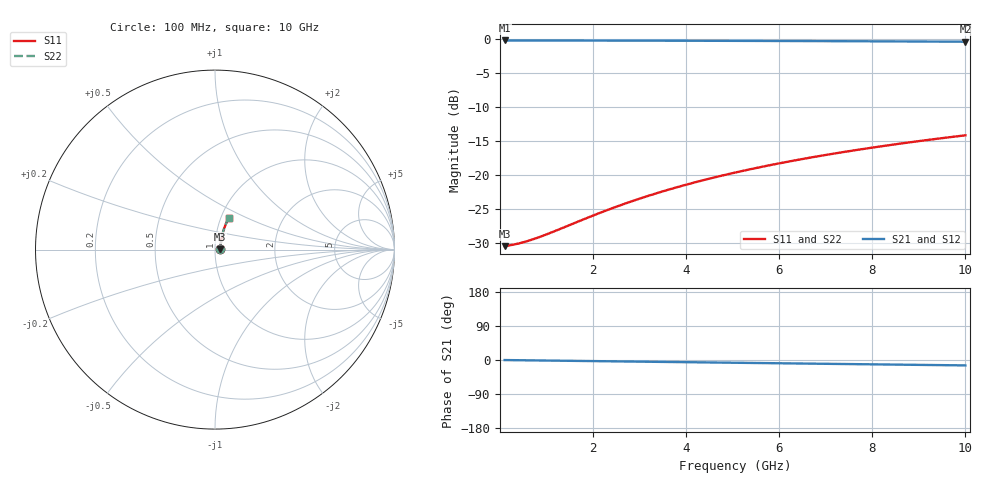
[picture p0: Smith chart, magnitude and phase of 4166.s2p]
# Hz S RI R 50.00
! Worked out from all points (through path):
!   100 points, 100 MHz to 10 GHz, reference 50 ohm
!   highest |S21| = -0.26 dB at 100 MHz (marker M1); lowest = -0.4 dB at 10 GHz (marker M2)
!   group delay of S21, straight-line fit = 3.96 ps
!   lowest |S11| = -30.5 dB at 100 MHz (marker M3), VSWR 1.06, Z = 53.1 + j0.201 ohm
!   |S11| at or under -10 dB: start of sweep to end of sweep
!   |S22| runs from -30.5 to -14.2 dB; largest |S21 - S12| = 0
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1e8  0.0298 0.00189  0.9702 -0.00245  0.9702 -0.00245  0.0298 0.00189
3e8  0.0301 0.00568  0.9699 -0.00733  0.9699 -0.00733  0.0301 0.00568
4e8  0.0303 0.00757  0.9697 -0.00978  0.9697 -0.00978  0.0303 0.00757
5e8  0.0304 0.00946  0.9696 -0.0122  0.9696 -0.0122  0.0304 0.00946
7e8  0.0307 0.0132  0.9693 -0.0171  0.9693 -0.0171  0.0307 0.0132
9e8  0.031 0.017  0.969 -0.022  0.969 -0.022  0.031 0.017
1.1e9  0.0313 0.0208  0.9687 -0.0268  0.9687 -0.0268  0.0313 0.0208
1.8e9  0.0325 0.0339  0.9674 -0.0439  0.9674 -0.0439  0.0325 0.0339
2.2e9  0.0334 0.0414  0.9665 -0.0536  0.9665 -0.0536  0.0334 0.0414
2.6e9  0.0344 0.0489  0.9654 -0.0632  0.9654 -0.0632  0.0344 0.0489
3e9  0.0356 0.0563  0.9642 -0.0729  0.9642 -0.0729  0.0356 0.0563
3.4e9  0.0369 0.0637  0.9629 -0.0825  0.9629 -0.0825  0.0369 0.0637
3.8e9  0.0383 0.0711  0.9614 -0.0921  0.9614 -0.0921  0.0383 0.0711
4.2e9  0.0399 0.0784  0.9598 -0.1017  0.9598 -0.1017  0.0399 0.0784
4.6e9  0.0416 0.0857  0.958 -0.1112  0.958 -0.1112  0.0416 0.0857
5.1e9  0.044 0.0948  0.9556 -0.123  0.9556 -0.123  0.044 0.0948
5.9e9  0.0482 0.1091  0.9512 -0.1417  0.9512 -0.1417  0.0482 0.1091
6.7e9  0.053 0.1232  0.9463 -0.1603  0.9463 -0.1603  0.053 0.1232
7.5e9  0.0582 0.137  0.9409 -0.1785  0.9409 -0.1785  0.0582 0.137
8.4e9  0.0648 0.1523  0.9341 -0.1988  0.9341 -0.1988  0.0648 0.1523
9.2e9  0.0711 0.1655  0.9275 -0.2164  0.9275 -0.2164  0.0711 0.1655
1e10  0.078 0.1784  0.9204 -0.2338  0.9204 -0.2338  0.078 0.1784
